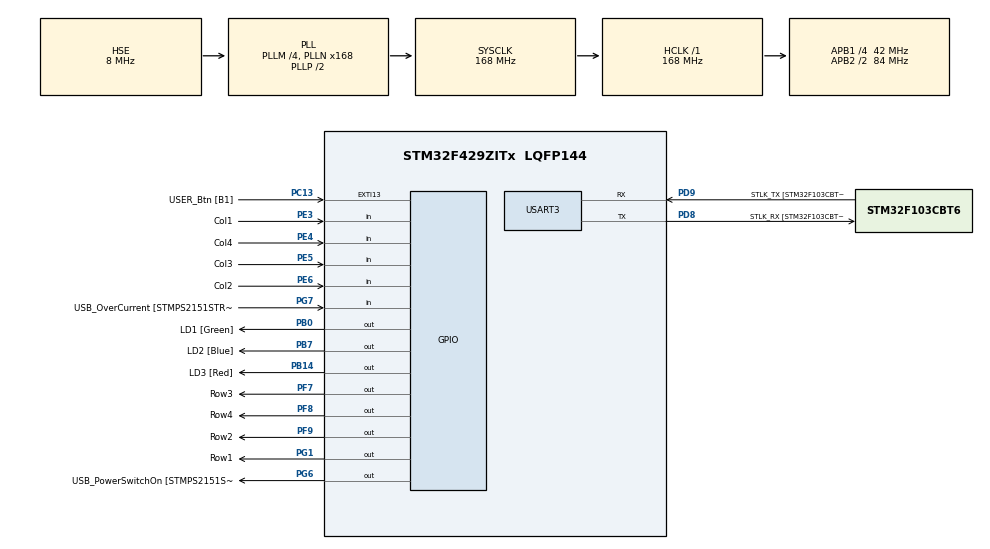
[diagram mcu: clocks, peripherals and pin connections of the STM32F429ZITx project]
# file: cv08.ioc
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Mcu.Family=STM32F4
Mcu.Name=STM32F429ZITx
Mcu.Package=LQFP144
NVIC.PriorityGroup=NVIC_PRIORITYGROUP_4
NVIC.TIM3_IRQn=true\:0\:0\:false\:false\:true\:true\:true\:true
PA1.GPIO_Label=RMII_REF_CLK [LAN8742A-CZ-TR_REFCLK0]
PA1.Signal=ETH_REF_CLK
PA10.GPIO_Label=USB_ID
PA10.Signal=USB_OTG_FS_ID
PA11.GPIO_Label=USB_DM
PA11.Signal=USB_OTG_FS_DM
PA12.GPIO_Label=USB_DP
PA12.Signal=USB_OTG_FS_DP
PA13.GPIO_Label=TMS
PA13.Mode=Serial_Wire
PA13.Signal=SYS_JTMS-SWDIO
PA14.GPIO_Label=TCK
PA14.Mode=Serial_Wire
PA14.Signal=SYS_JTCK-SWCLK
PA2.GPIO_Label=RMII_MDIO [LAN8742A-CZ-TR_MDIO]
PA2.Signal=ETH_MDIO
PA7.GPIO_Label=RMII_CRS_DV [LAN8742A-CZ-TR_CRS_DV]
PA7.Signal=ETH_CRS_DV
PA8.GPIO_Label=USB_SOF [TP1]
PA8.Signal=USB_OTG_FS_SOF
PA9.GPIO_Label=USB_VBUS
PA9.Signal=USB_OTG_FS_VBUS
PB0.GPIO_Label=LD1 [Green]
PB0.Signal=GPIO_Output
PB13.GPIO_Label=RMII_TXD1 [LAN8742A-CZ-TR_TXD1]
PB13.Signal=ETH_TXD1
PB14.GPIO_Label=LD3 [Red]
PB14.Signal=GPIO_Output
PB7.GPIO_Label=LD2 [Blue]
PB7.Signal=GPIO_Output
PC1.GPIO_Label=RMII_MDC [LAN8742A-CZ-TR_MDC]
PC1.Signal=ETH_MDC
PC13.GPIO_Label=USER_Btn [B1]
PC13.Signal=GPXTI13
PC14/OSC32_IN.Mode=LSE-External-Oscillator
PC14/OSC32_IN.Signal=RCC_OSC32_IN
PC15/OSC32_OUT.Mode=LSE-External-Oscillator
PC15/OSC32_OUT.Signal=RCC_OSC32_OUT
PC4.GPIO_Label=RMII_RXD0 [LAN8742A-CZ-TR_RXD0]
PC4.Signal=ETH_RXD0
PC5.GPIO_Label=RMII_RXD1 [LAN8742A-CZ-TR_RXD1]
PC5.Signal=ETH_RXD1
PD8.GPIO_Label=STLK_RX [STM32F103CBT6_PA3]
PD8.Mode=Asynchronous
PD8.Signal=USART3_TX
PD9.GPIO_Label=STLK_TX [STM32F103CBT6_PA2]
PD9.Mode=Asynchronous
PD9.Signal=USART3_RX
PE3.GPIO_Label=Col1
PE3.GPIO_PuPd=GPIO_PULLUP
PE3.Signal=GPIO_Input
PE4.GPIO_Label=Col4
PE4.GPIO_PuPd=GPIO_PULLUP
PE4.Signal=GPIO_Input
PE5.GPIO_Label=Col3
PE5.GPIO_PuPd=GPIO_PULLUP
PE5.Signal=GPIO_Input
PE6.GPIO_Label=Col2
PE6.GPIO_PuPd=GPIO_PULLUP
PE6.Signal=GPIO_Input
PF7.GPIO_Label=Row3
PF7.GPIO_ModeDefaultOutputPP=GPIO_MODE_OUTPUT_OD
PF7.GPIO_PuPd=GPIO_NOPULL
PF7.Signal=GPIO_Output
PF8.GPIO_Label=Row4
PF8.GPIO_ModeDefaultOutputPP=GPIO_MODE_OUTPUT_OD
PF8.GPIO_PuPd=GPIO_NOPULL
PF8.Signal=GPIO_Output
PF9.GPIO_Label=Row2
PF9.GPIO_ModeDefaultOutputPP=GPIO_MODE_OUTPUT_OD
PF9.GPIO_PuPd=GPIO_NOPULL
PF9.Signal=GPIO_Output
PG1.GPIO_Label=Row1
PG1.GPIO_ModeDefaultOutputPP=GPIO_MODE_OUTPUT_OD
PG1.GPIO_PuPd=GPIO_NOPULL
PG1.Signal=GPIO_Output
PG11.GPIO_Label=RMII_TX_EN [LAN8742A-CZ-TR_TXEN]
PG11.Signal=ETH_TX_EN
PG13.GPIO_Label=RMII_TXD0 [LAN8742A-CZ-TR_TXD0]
PG13.Signal=ETH_TXD0
PG6.GPIO_Label=USB_PowerSwitchOn [STMPS2151STR_EN]
PG6.Signal=GPIO_Output
PG7.GPIO_Label=USB_OverCurrent [STMPS2151STR_FAULT]
PG7.Signal=GPIO_Input
PH0/OSC_IN.GPIO_Label=MCO [STM32F103CBT6_PA8]
PH0/OSC_IN.Mode=HSE-External-Clock-Source
PH0/OSC_IN.Signal=RCC_OSC_IN
PH1/OSC_OUT.Mode=HSE-External-Clock-Source
PH1/OSC_OUT.Signal=RCC_OSC_OUT
ProjectManager.HeapSize=0x200
ProjectManager.StackSize=0x400
ProjectManager.TargetToolchain=STM32CubeIDE
RCC.48MHZClocksFreq_Value=48000000
RCC.AHBFreq_Value=168000000
RCC.APB1CLKDivider=RCC_HCLK_DIV4
RCC.APB1Freq_Value=42000000
RCC.APB1TimFreq_Value=84000000
RCC.APB2CLKDivider=RCC_HCLK_DIV2
RCC.APB2Freq_Value=84000000
RCC.APB2TimCLKDivider=2
RCC.APB2TimFreq_Value=168000000
RCC.CortexFreq_Value=168000000
RCC.HCLKFreq_Value=168000000
RCC.HSE_VALUE=8000000
RCC.HSI_VALUE=16000000
RCC.PLLM=4
RCC.PLLMUL=RCC_PLL_MUL9
RCC.PLLN=168
RCC.PLLQ=7
RCC.PLLSourceVirtual=RCC_PLLSOURCE_HSE
RCC.PRESCALERUSB=RCC_USBCLKSOURCE_PLL_DIV1_5
RCC.SYSCLKFreq_VALUE=168000000
RCC.SYSCLKSource=RCC_SYSCLKSOURCE_PLLCLK
RCC.SYSCLKSourceVirtual=RCC_SYSCLKSOURCE_PLLCLK
RCC.USBFreq_Value=48000000
RCC.VCOOutputFreq_Value=336000000
TIM3.AutoReloadPreload=TIM_AUTORELOAD_PRELOAD_ENABLE
TIM3.Period=99
TIM3.Prescaler=8399
USART3.VirtualMode=VM_ASYNC
VP_TIM3_VS_ClockSourceINT.Mode=Internal
board=NUCLEO-F429ZI

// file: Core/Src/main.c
/* USER CODE BEGIN Header */
/**
 ******************************************************************************
 * @file           : main.c
 * @brief          : Main program body
 ******************************************************************************
 * @attention
 *
 * Copyright (c) 2022 STMicroelectronics.
 * All rights reserved.
 *
 * This software is licensed under terms that can be found in the LICENSE file
 * in the root directory of this software component.
 * If no LICENSE file comes with this software, it is provided AS-IS.
 *
 ******************************************************************************
 */
/* USER CODE END Header */
#include "main.h"

/* USER CODE BEGIN Includes */
#include <stdio.h>
/* USER CODE END Includes */

/* USER CODE BEGIN PTD */
#define TIMEOUT 5000
/* USER CODE END PTD */

TIM_HandleTypeDef htim3;

UART_HandleTypeDef huart3;

/* USER CODE BEGIN PV */
static volatile int8_t key;
/* USER CODE END PV */

void SystemClock_Config(void);
static void MX_GPIO_Init(void);
static void MX_USART3_UART_Init(void);
static void MX_TIM3_Init(void);

/* USER CODE BEGIN 0 */

int __io_putchar(int ch)
{
	ITM_SendChar(ch);
	return 0;
}

void HAL_TIM_PeriodElapsedCallback(TIM_HandleTypeDef *htim)
{
	static int row = 0;
	static const int keyboard[4][4] = {
			{ 1, 2, 3, 21 },
			{ 4, 5, 6, 22 },
			{ 7, 8, 9, 23 },
			{ 11, 0, 12, 24 },
	};

	if (key == -1) {
		if (HAL_GPIO_ReadPin(Col1_GPIO_Port, Col1_Pin) == GPIO_PIN_RESET) key = keyboard[row][0];
		if (HAL_GPIO_ReadPin(Col2_GPIO_Port, Col2_Pin) == GPIO_PIN_RESET) key = keyboard[row][1];
		if (HAL_GPIO_ReadPin(Col3_GPIO_Port, Col3_Pin) == GPIO_PIN_RESET) key = keyboard[row][2];
		if (HAL_GPIO_ReadPin(Col4_GPIO_Port, Col4_Pin) == GPIO_PIN_RESET) key = keyboard[row][3];
	}
	HAL_GPIO_WritePin(Row1_GPIO_Port, Row1_Pin, GPIO_PIN_SET);
	HAL_GPIO_WritePin(Row2_GPIO_Port, Row2_Pin, GPIO_PIN_SET);
	HAL_GPIO_WritePin(Row3_GPIO_Port, Row3_Pin, GPIO_PIN_SET);
	HAL_GPIO_WritePin(Row4_GPIO_Port, Row4_Pin, GPIO_PIN_SET);
	switch (row) {
	case 0: row = 1; HAL_GPIO_WritePin(Row2_GPIO_Port, Row2_Pin, GPIO_PIN_RESET); break;
	case 1: row = 2; HAL_GPIO_WritePin(Row3_GPIO_Port, Row3_Pin, GPIO_PIN_RESET); break;
	case 2: row = 3; HAL_GPIO_WritePin(Row4_GPIO_Port, Row4_Pin, GPIO_PIN_RESET); break;
	case 3: row = 0; HAL_GPIO_WritePin(Row1_GPIO_Port, Row1_Pin, GPIO_PIN_RESET); break;
	}
}

/* USER CODE END 0 */

int main(void)
{
	/* USER CODE BEGIN 1 */
	int16_t code[5] = {7,9,3,2,12};
	int i = 0;
	int time;

	/* USER CODE END 1 */

	/* MCU Configuration--------------------------------------------------------*/

	/* Reset of all peripherals, Initializes the Flash interface and the Systick. */
	HAL_Init();

	/* Configure the system clock */
	SystemClock_Config();

	/* Initialize all configured peripherals */
	MX_GPIO_Init();
	MX_USART3_UART_Init();
	MX_TIM3_Init();
	/* USER CODE BEGIN 2 */
	HAL_TIM_Base_Start_IT(&htim3);

	/* USER CODE END 2 */

	/* Infinite loop */
	/* USER CODE BEGIN WHILE */
	while (1)
	{

		if (key != -1) {											// if the key was pressed
			printf("Pressed: %2d\n", key);

			if (key == code[i]) {
				i++;
			}

			else {
				i = 0;
			}

			if (key == code[4]) {									// when the key is equal to last letter
				i = 0;
				HAL_GPIO_WritePin(LD1_GPIO_Port, LD1_Pin, 1);		// turning on the LED
				time =  HAL_GetTick();								// time since turning on the board
			}

			HAL_Delay(250);
			key = -1;												// setting key back to normal state

		}
		if (HAL_GetTick()-time >= TIMEOUT){ 						// turning off the LED after TIMEOUT time
			HAL_GPIO_WritePin(LD1_GPIO_Port, LD1_Pin, 0);
		}

		/* USER CODE END WHILE */

	}
}

void SystemClock_Config(void)
{
	RCC_OscInitTypeDef RCC_OscInitStruct = {0};
	RCC_ClkInitTypeDef RCC_ClkInitStruct = {0};

	/** Configure the main internal regulator output voltage
	 */
	__HAL_RCC_PWR_CLK_ENABLE();
	__HAL_PWR_VOLTAGESCALING_CONFIG(PWR_REGULATOR_VOLTAGE_SCALE1);

	/** Initializes the RCC Oscillators according to the specified parameters
	 * in the RCC_OscInitTypeDef structure.
	 */
	RCC_OscInitStruct.OscillatorType = RCC_OSCILLATORTYPE_HSE;
	RCC_OscInitStruct.HSEState = RCC_HSE_BYPASS;
	RCC_OscInitStruct.PLL.PLLState = RCC_PLL_ON;
	RCC_OscInitStruct.PLL.PLLSource = RCC_PLLSOURCE_HSE;
	RCC_OscInitStruct.PLL.PLLM = 4;
	RCC_OscInitStruct.PLL.PLLN = 168;
	RCC_OscInitStruct.PLL.PLLP = RCC_PLLP_DIV2;
	RCC_OscInitStruct.PLL.PLLQ = 7;
	if (HAL_RCC_OscConfig(&RCC_OscInitStruct) != HAL_OK)
	{
		Error_Handler();
	}

	/** Initializes the CPU, AHB and APB buses clocks
	 */
	RCC_ClkInitStruct.ClockType = RCC_CLOCKTYPE_HCLK|RCC_CLOCKTYPE_SYSCLK
			|RCC_CLOCKTYPE_PCLK1|RCC_CLOCKTYPE_PCLK2;
	RCC_ClkInitStruct.SYSCLKSource = RCC_SYSCLKSOURCE_PLLCLK;
	RCC_ClkInitStruct.AHBCLKDivider = RCC_SYSCLK_DIV1;
	RCC_ClkInitStruct.APB1CLKDivider = RCC_HCLK_DIV4;
	RCC_ClkInitStruct.APB2CLKDivider = RCC_HCLK_DIV2;

	if (HAL_RCC_ClockConfig(&RCC_ClkInitStruct, FLASH_LATENCY_5) != HAL_OK)
	{
		Error_Handler();
	}
}

static void MX_TIM3_Init(void)
{

	TIM_ClockConfigTypeDef sClockSourceConfig = {0};
	TIM_MasterConfigTypeDef sMasterConfig = {0};

	htim3.Instance = TIM3;
	htim3.Init.Prescaler = 8399;
	htim3.Init.CounterMode = TIM_COUNTERMODE_UP;
	htim3.Init.Period = 99;
	htim3.Init.ClockDivision = TIM_CLOCKDIVISION_DIV1;
	htim3.Init.AutoReloadPreload = TIM_AUTORELOAD_PRELOAD_ENABLE;
	if (HAL_TIM_Base_Init(&htim3) != HAL_OK)
	{
		Error_Handler();
	}
	sClockSourceConfig.ClockSource = TIM_CLOCKSOURCE_INTERNAL;
	if (HAL_TIM_ConfigClockSource(&htim3, &sClockSourceConfig) != HAL_OK)
	{
		Error_Handler();
	}
	sMasterConfig.MasterOutputTrigger = TIM_TRGO_RESET;
	sMasterConfig.MasterSlaveMode = TIM_MASTERSLAVEMODE_DISABLE;
	if (HAL_TIMEx_MasterConfigSynchronization(&htim3, &sMasterConfig) != HAL_OK)
	{
		Error_Handler();
	}

}

static void MX_USART3_UART_Init(void)
{

	huart3.Instance = USART3;
	huart3.Init.BaudRate = 115200;
	huart3.Init.WordLength = UART_WORDLENGTH_8B;
	huart3.Init.StopBits = UART_STOPBITS_1;
	huart3.Init.Parity = UART_PARITY_NONE;
	huart3.Init.Mode = UART_MODE_TX_RX;
	huart3.Init.HwFlowCtl = UART_HWCONTROL_NONE;
	huart3.Init.OverSampling = UART_OVERSAMPLING_16;
	if (HAL_UART_Init(&huart3) != HAL_OK)
	{
		Error_Handler();
	}

}

static void MX_GPIO_Init(void)
{
	GPIO_InitTypeDef GPIO_InitStruct = {0};

	/* GPIO Ports Clock Enable */
	__HAL_RCC_GPIOE_CLK_ENABLE();
	__HAL_RCC_GPIOC_CLK_ENABLE();
	__HAL_RCC_GPIOF_CLK_ENABLE();
	__HAL_RCC_GPIOH_CLK_ENABLE();
	__HAL_RCC_GPIOA_CLK_ENABLE();
	__HAL_RCC_GPIOB_CLK_ENABLE();
	__HAL_RCC_GPIOG_CLK_ENABLE();
	__HAL_RCC_GPIOD_CLK_ENABLE();

	/*Configure GPIO pin Output Level */
	HAL_GPIO_WritePin(GPIOF, Row3_Pin|Row4_Pin|Row2_Pin, GPIO_PIN_RESET);

	/*Configure GPIO pin Output Level */
	HAL_GPIO_WritePin(GPIOB, LD1_Pin|LD3_Pin|LD2_Pin, GPIO_PIN_RESET);

	/*Configure GPIO pin Output Level */
	HAL_GPIO_WritePin(GPIOG, Row1_Pin|USB_PowerSwitchOn_Pin, GPIO_PIN_RESET);

	/*Configure GPIO pins : Col1_Pin Col4_Pin Col3_Pin Col2_Pin */
	GPIO_InitStruct.Pin = Col1_Pin|Col4_Pin|Col3_Pin|Col2_Pin;
	GPIO_InitStruct.Mode = GPIO_MODE_INPUT;
	GPIO_InitStruct.Pull = GPIO_PULLUP;
	HAL_GPIO_Init(GPIOE, &GPIO_InitStruct);

	/*Configure GPIO pin : USER_Btn_Pin */
	GPIO_InitStruct.Pin = USER_Btn_Pin;
	GPIO_InitStruct.Mode = GPIO_MODE_IT_RISING;
	GPIO_InitStruct.Pull = GPIO_NOPULL;
	HAL_GPIO_Init(USER_Btn_GPIO_Port, &GPIO_InitStruct);

	/*Configure GPIO pins : Row3_Pin Row4_Pin Row2_Pin */
	GPIO_InitStruct.Pin = Row3_Pin|Row4_Pin|Row2_Pin;
	GPIO_InitStruct.Mode = GPIO_MODE_OUTPUT_OD;
	GPIO_InitStruct.Pull = GPIO_NOPULL;
	GPIO_InitStruct.Speed = GPIO_SPEED_FREQ_LOW;
	HAL_GPIO_Init(GPIOF, &GPIO_InitStruct);

	/*Configure GPIO pins : RMII_MDC_Pin RMII_RXD0_Pin RMII_RXD1_Pin */
	GPIO_InitStruct.Pin = RMII_MDC_Pin|RMII_RXD0_Pin|RMII_RXD1_Pin;
	GPIO_InitStruct.Mode = GPIO_MODE_AF_PP;
	GPIO_InitStruct.Pull = GPIO_NOPULL;
	GPIO_InitStruct.Speed = GPIO_SPEED_FREQ_VERY_HIGH;
	GPIO_InitStruct.Alternate = GPIO_AF11_ETH;
	HAL_GPIO_Init(GPIOC, &GPIO_InitStruct);

	/*Configure GPIO pins : RMII_REF_CLK_Pin RMII_MDIO_Pin RMII_CRS_DV_Pin */
	GPIO_InitStruct.Pin = RMII_REF_CLK_Pin|RMII_MDIO_Pin|RMII_CRS_DV_Pin;
	GPIO_InitStruct.Mode = GPIO_MODE_AF_PP;
	GPIO_InitStruct.Pull = GPIO_NOPULL;
	GPIO_InitStruct.Speed = GPIO_SPEED_FREQ_VERY_HIGH;
	GPIO_InitStruct.Alternate = GPIO_AF11_ETH;
	HAL_GPIO_Init(GPIOA, &GPIO_InitStruct);

	/*Configure GPIO pins : LD1_Pin LD3_Pin LD2_Pin */
	GPIO_InitStruct.Pin = LD1_Pin|LD3_Pin|LD2_Pin;
	GPIO_InitStruct.Mode = GPIO_MODE_OUTPUT_PP;
	GPIO_InitStruct.Pull = GPIO_NOPULL;
	GPIO_InitStruct.Speed = GPIO_SPEED_FREQ_LOW;
	HAL_GPIO_Init(GPIOB, &GPIO_InitStruct);

	/*Configure GPIO pin : Row1_Pin */
	GPIO_InitStruct.Pin = Row1_Pin;
	GPIO_InitStruct.Mode = GPIO_MODE_OUTPUT_OD;
	GPIO_InitStruct.Pull = GPIO_NOPULL;
	GPIO_InitStruct.Speed = GPIO_SPEED_FREQ_LOW;
	HAL_GPIO_Init(Row1_GPIO_Port, &GPIO_InitStruct);

	/*Configure GPIO pin : RMII_TXD1_Pin */
	GPIO_InitStruct.Pin = RMII_TXD1_Pin;
	GPIO_InitStruct.Mode = GPIO_MODE_AF_PP;
	GPIO_InitStruct.Pull = GPIO_NOPULL;
	GPIO_InitStruct.Speed = GPIO_SPEED_FREQ_VERY_HIGH;
	GPIO_InitStruct.Alternate = GPIO_AF11_ETH;
	HAL_GPIO_Init(RMII_TXD1_GPIO_Port, &GPIO_InitStruct);

	/*Configure GPIO pin : USB_PowerSwitchOn_Pin */
	GPIO_InitStruct.Pin = USB_PowerSwitchOn_Pin;
	GPIO_InitStruct.Mode = GPIO_MODE_OUTPUT_PP;
	GPIO_InitStruct.Pull = GPIO_NOPULL;
	GPIO_InitStruct.Speed = GPIO_SPEED_FREQ_LOW;
	HAL_GPIO_Init(USB_PowerSwitchOn_GPIO_Port, &GPIO_InitStruct);

	/*Configure GPIO pin : USB_OverCurrent_Pin */
	GPIO_InitStruct.Pin = USB_OverCurrent_Pin;
	GPIO_InitStruct.Mode = GPIO_MODE_INPUT;
	GPIO_InitStruct.Pull = GPIO_NOPULL;
	HAL_GPIO_Init(USB_OverCurrent_GPIO_Port, &GPIO_InitStruct);

	/*Configure GPIO pins : USB_SOF_Pin USB_ID_Pin USB_DM_Pin USB_DP_Pin */
	GPIO_InitStruct.Pin = USB_SOF_Pin|USB_ID_Pin|USB_DM_Pin|USB_DP_Pin;
	GPIO_InitStruct.Mode = GPIO_MODE_AF_PP;
	GPIO_InitStruct.Pull = GPIO_NOPULL;
	GPIO_InitStruct.Speed = GPIO_SPEED_FREQ_VERY_HIGH;
	GPIO_InitStruct.Alternate = GPIO_AF10_OTG_FS;
	HAL_GPIO_Init(GPIOA, &GPIO_InitStruct);

	/*Configure GPIO pin : USB_VBUS_Pin */
	GPIO_InitStruct.Pin = USB_VBUS_Pin;
	GPIO_InitStruct.Mode = GPIO_MODE_INPUT;
	GPIO_InitStruct.Pull = GPIO_NOPULL;
	HAL_GPIO_Init(USB_VBUS_GPIO_Port, &GPIO_InitStruct);

	/*Configure GPIO pins : RMII_TX_EN_Pin RMII_TXD0_Pin */
	GPIO_InitStruct.Pin = RMII_TX_EN_Pin|RMII_TXD0_Pin;
	GPIO_InitStruct.Mode = GPIO_MODE_AF_PP;
	GPIO_InitStruct.Pull = GPIO_NOPULL;
	GPIO_InitStruct.Speed = GPIO_SPEED_FREQ_VERY_HIGH;
	GPIO_InitStruct.Alternate = GPIO_AF11_ETH;
	HAL_GPIO_Init(GPIOG, &GPIO_InitStruct);

}

void Error_Handler(void)
{
	/* USER CODE BEGIN Error_Handler_Debug */
	/* User can add his own implementation to report the HAL error return state */
	__disable_irq();
	while (1)
	{
		HAL_GPIO_TogglePin(LD1_GPIO_Port, LD1_Pin);
		HAL_Delay(250);
	}
	/* USER CODE END Error_Handler_Debug */
}
